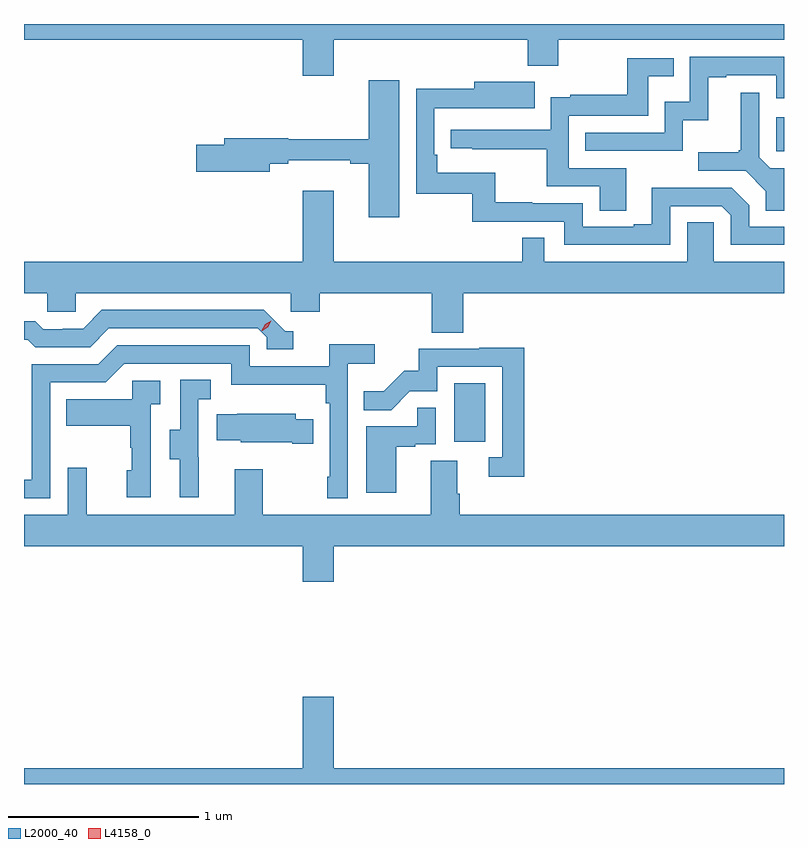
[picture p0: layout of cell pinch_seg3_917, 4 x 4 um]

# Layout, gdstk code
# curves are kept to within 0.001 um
import gdstk
lib = gdstk.Library(unit=1e-6, precision=1e-09)
def R(c, l, rs):  # rectangles x0, y0, x1, y1
    for r in rs: c.add(gdstk.rectangle(r[:2], r[2:], *l))
def P(c, l, *ps):  # polygons
    for p in ps: c.add(gdstk.Polygon(p, *l))
L2000_40 = (2000, 40)
L4158_0 = (4158, 0)

pinch_seg3_917 = lib.new_cell('pinch_seg3_917')
R(pinch_seg3_917, L2000_40, [(885.086,686.814,885.25,687.121), (886.782,688.341,886.822,688.521)])
P(pinch_seg3_917, L2000_40, [(884.452,688.928),(885.473,688.928),(885.473,688.793),(885.633,688.793),(885.633,688.928),(886.822,688.928),(886.822,689.012),(882.822,689.012),(882.822,688.928),(884.288,688.928),(884.288,688.74),(884.452,688.74)],
  [(886.29,688.505),(886.423,688.505),(886.423,688.731),(886.519,688.731),(886.519,688.743),(886.782,688.743),(886.782,688.62),(886.822,688.62),(886.822,688.839),(886.326,688.839),(886.326,688.603),(886.194,688.603),(886.194,688.44),(885.775,688.44),(885.775,688.344),(886.29,688.344)],
  [(885.991,688.254),(885.69,688.254),(885.69,688.53),(886.107,688.53),(886.107,688.736),(886.241,688.736),(886.241,688.833),(885.996,688.833),(885.996,688.639),(885.697,688.639),(885.697,688.627),(885.594,688.627),(885.594,688.455),(885.069,688.455),(885.069,688.359),(885.181,688.359),(885.181,688.354),(885.574,688.354),(885.574,688.158),(885.851,688.158),(885.851,688.03),(885.991,688.03)],
  [(884.797,688.717),(884.636,688.717),(884.636,688.405),(884.212,688.405),(884.212,688.412),(883.877,688.412),(883.877,688.376),(883.728,688.376),(883.728,688.234),(884.116,688.234),(884.116,688.276),(884.212,688.276),(884.212,688.295),(884.54,688.295),(884.54,688.276),(884.636,688.276),(884.636,687.996),(884.797,687.996)],
  [(886.224,688.053),(886.494,688.053),(886.542,688.005),(886.542,687.849),(886.822,687.849),(886.822,687.945),(886.638,687.945),(886.638,688.059),(886.548,688.149),(886.332,688.149),(886.332,688.151),(886.127,688.151),(886.127,687.958),(886.031,687.958),(886.031,687.945),(885.762,687.945),(885.762,688.068),(885.497,688.068),(885.497,688.073),(885.301,688.073),(885.301,688.228),(884.996,688.228),(884.996,688.324),(884.982,688.324),(884.982,688.569),(885.509,688.568),(885.509,688.708),(885.191,688.708),(885.191,688.67),(884.886,688.67),(884.886,688.119),(885.18,688.119),(885.18,687.972),(885.666,687.972),(885.666,687.849),(886.224,687.849)],
  [(886.822,688.254),(886.749,688.254),(886.692,688.311),(886.692,688.651),(886.595,688.651),(886.595,688.348),(886.584,688.348),(886.584,688.336),(886.371,688.336),(886.371,688.239),(886.62,688.239),(886.727,688.132),(886.727,688.03),(886.822,688.03)],
  [(886.822,687.76),(886.452,687.76),(886.452,687.968),(886.313,687.968),(886.313,687.76),(885.561,687.76),(885.561,687.887),(885.445,687.887),(885.445,687.76),(884.452,687.76),(884.452,688.135),(884.288,688.135),(884.288,687.76),(882.822,687.76),(882.822,687.596),(882.945,687.596),(882.945,687.498),(883.095,687.498),(883.095,687.596),(884.226,687.596),(884.226,687.498),(884.378,687.498),(884.378,687.596),(884.969,687.596),(884.969,687.388),(885.134,687.388),(885.134,687.596),(886.822,687.596)],
  [(884.239,687.396),(884.196,687.396),(884.085,687.507),(883.232,687.507),(883.133,687.408),(883.026,687.408),(883.026,687.405),(882.923,687.405),(882.881,687.448),(882.822,687.448),(882.822,687.351),(882.842,687.351),(882.881,687.312),(883.17,687.312),(883.269,687.411),(884.052,687.411),(884.1,687.363),(884.1,687.3),(884.239,687.3)],
  [(882.96,687.126),(883.251,687.126),(883.35,687.225),(883.914,687.225),(883.914,687.113),(884.41,687.113),(884.41,687.017),(884.43,687.017),(884.43,686.629),(884.418,686.629),(884.418,686.517),(884.526,686.517),(884.526,687.224),(884.668,687.224),(884.668,687.326),(884.429,687.326),(884.429,687.21),(884.01,687.21),(884.01,687.321),(883.313,687.321),(883.214,687.222),(882.864,687.222),(882.864,686.613),(882.822,686.613),(882.822,686.517),(882.96,686.517)],
  [(885.455,687.308),(885.217,687.308),(885.217,687.303),(884.899,687.303),(884.899,687.186),(884.822,687.186),(884.715,687.079),(884.611,687.079),(884.611,686.98),(884.755,686.98),(884.853,687.078),(884.997,687.078),(884.997,687.207),(885.339,687.207),(885.339,686.733),(885.267,686.733),(885.267,686.628),(885.455,686.628)],
  [(883.742,686.733),(883.74,686.733),(883.74,687.037),(883.804,687.037),(883.804,687.14),(883.644,687.14),(883.644,686.877),(883.589,686.877),(883.589,686.722),(883.643,686.722),(883.643,686.52),(883.742,686.52)],
  [(883.488,687.011),(883.54,687.011),(883.54,687.135),(883.392,687.135),(883.392,687.037),(883.045,687.037),(883.045,686.897),(883.38,686.897),(883.38,686.783),(883.39,686.783),(883.39,686.664),(883.364,686.664),(883.364,686.52),(883.488,686.52)],
  [(884.782,686.787),(884.882,686.787),(884.882,686.799),(884.988,686.799),(884.988,686.993),(884.893,686.993),(884.893,686.895),(884.624,686.895),(884.624,686.544),(884.782,686.544)],
  [(884.345,686.932),(884.251,686.932),(884.251,686.962),(883.945,686.962),(883.945,686.959),(883.837,686.959),(883.837,686.822),(883.962,686.822),(883.962,686.81),(884.234,686.81),(884.234,686.803),(884.345,686.803)],
  [(884.452,686.264),(886.822,686.264),(886.822,686.428),(885.116,686.428),(885.116,686.54),(885.103,686.54),(885.103,686.714),(884.963,686.714),(884.963,686.428),(884.079,686.428),(884.079,686.668),(883.931,686.668),(883.931,686.428),(883.151,686.428),(883.151,686.677),(883.053,686.677),(883.053,686.428),(882.822,686.428),(882.822,686.264),(884.288,686.264),(884.288,686.076),(884.452,686.076)],
  [(886.822,685.096),(884.452,685.096),(884.452,685.471),(884.288,685.471),(884.288,685.096),(882.822,685.096),(882.822,685.012),(886.822,685.012)])
P(pinch_seg3_917, L4158_0, [(884.074,687.398),(884.074,687.399),(884.091,687.431),(884.123,687.449),(884.123,687.449),(884.123,687.449),(884.106,687.417),(884.075,687.398)])

lib.write_gds('pinch_seg3_917.gds')
